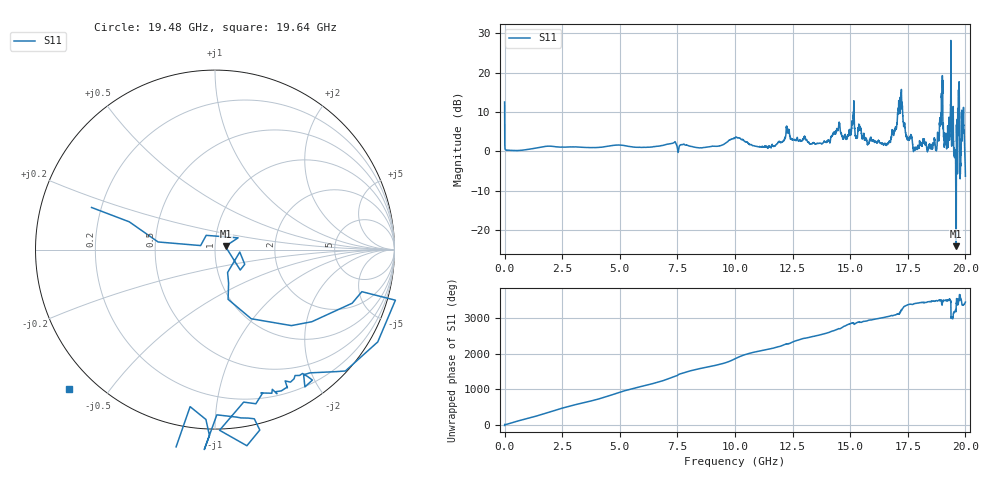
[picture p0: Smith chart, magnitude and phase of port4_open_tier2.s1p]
! Created with skrf 1.8.0 (http://scikit-rf.org).
# GHz S RI R 50.0
!freq ReS11 ImS11
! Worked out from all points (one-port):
!   10001 points, 1 MHz to 20 GHz, reference 50 ohm
!   lowest |S11| = -24.1 dB at 19.6 GHz (marker M1), VSWR 1.13, Z = 56.2 + j2.21 ohm
!   |S11| at or under -10 dB: 19.58355 GHz to 19.606 GHz (22.46 MHz wide, 0.115 % of centre)
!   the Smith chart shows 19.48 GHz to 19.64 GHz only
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0.001  4.144 -0.8814
0.8389581  -0.9677 0.3804
1.532923  0.16 -1.112
2.500875  -0.4194 1.051
4.062797  1.115 0.1002
5.00075  -1.145 -0.3658
5.850708  1.099 -0.2545
6.526674  -0.0881 1.145
7.500625  0.6534 -0.8767
8.81056  -1.133 -0.0721
9.524524  0.4098 -1.16
10.0005  0.8878 1.195
10.41248  -1.287 0.3671
11.00845  -0.1466 -1.132
11.84641  1.151 0.5287
12.50038  -1.353 0.4329
13.01835  -0.0926 -1.501
13.71231  1.268 0.0765
14.53427  -2.237 0.253
15.00025  1.055 -1.406
16.25019  -0.3148 1.311
17.04015  -1.524 -1.883
17.13614  -2.6 -2.972
17.27814  2.718 1.004
17.50013  -0.8219 1.226
18.86406  -0.5258 -1.48
19.59802  0.0589 0.0196
20  -0.4563 -0.1557
